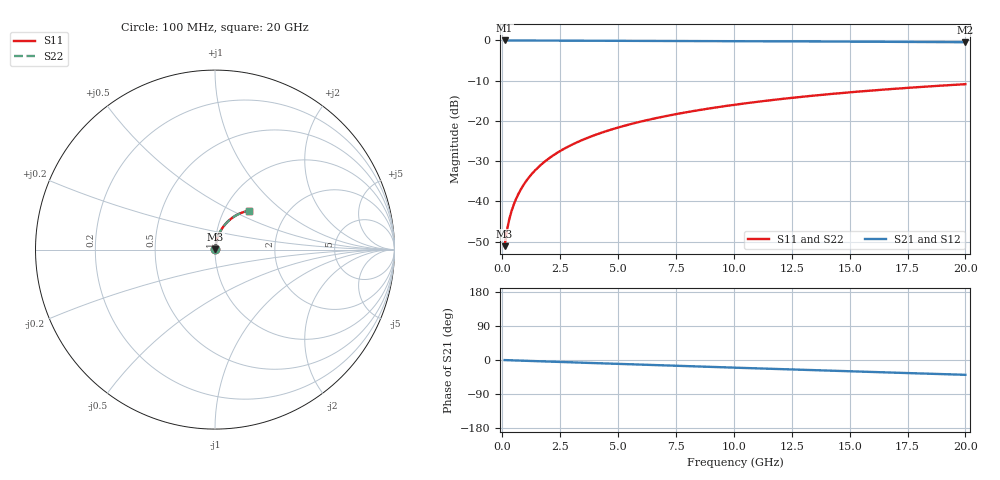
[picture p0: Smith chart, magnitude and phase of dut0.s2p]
! Touchstone file exported from HFSS 2026.1.0
!  File:  C:/ffzhzh/LocalFiles/Ansys_Project_Files/temp_train_TMRDL_0_1782879194_39248.aedt
!  Generated:  12:14:39 PM Jul  1, 2026
!  Design:  TMRDL
!  Project:  temp_train_TMRDL_0_1782879194_39248
! Variables:
!  h_bsmrdl = 2um
!  h_ox = 20um
!  h_rdl = 5um
!  h_sub = 80um
!  h_tmrdl = 4.23um
!  h_tsv = 80um
!  h_via = 3um
!  l_bsmrdl = 300um
!  l_sub = 1003.36um
!  l_tmrdl = 603.36um
!  m_sub = 200um
!  pitch = 50.44um
!  r_tsv = 6um
!  s_tmrdl = 10um
!  w_bsmrdl = 18um
!  w_sub = 500um
!  w_tmrdl = 29.33um
!  x_tsv_center1 = 618.025um
!  x_tsv_center2 = 936.025um
!  x_tsv_center3 = 1568.715um
!  x_tsv_center4 = 1886.715um
!  x_tsv_center5 = 2519.405um
!  x_tsv_center6 = 2837.405um
# GHz S MA R 50.000000
! Terminal data exported
! Port[1] = TM_RDL1_1_T1
! Port[2] = TM_RDL1_1_T2
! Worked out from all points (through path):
!   200 points, 100 MHz to 20 GHz, reference 50 ohm
!   highest |S21| = -0.02 dB at 100 MHz (marker M1); lowest = -0.5 dB at 20 GHz (marker M2)
!   group delay of S21, straight-line fit = 5.42 ps
!   lowest |S11| = -51.1 dB at 100 MHz (marker M3), VSWR 1.01, Z = 50.2 + j0.195 ohm
!   |S11| at or under -10 dB: start of sweep to end of sweep
!   |S22| runs from -51.1 to -10.9 dB; largest |S21 - S12| = 2.2e-15
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0.1  0.002779 44.4  0.998 -0.2  0.998 -0.2  0.002779 44.4
! Gamma 0 0 0 0
! Port Impedance 50 0 50 0
0.2  0.004355 59.8  0.9978 -0.4  0.9978 -0.4  0.004356 59.8
0.3  0.005979 66.4  0.9977 -0.6  0.9977 -0.6  0.00598 66.4
0.4  0.00759 70.3  0.9976 -0.8  0.9976 -0.8  0.007593 70.3
0.5  0.009202 72.9  0.9975 -1.1  0.9975 -1.1  0.009204 72.9
0.6  0.01082 74.8  0.9974 -1.3  0.9974 -1.3  0.01082 74.8
0.8  0.01409 77.2  0.9973 -1.7  0.9973 -1.7  0.01409 77.2
1.1  0.01904 79.2  0.9971 -2.3  0.9971 -2.3  0.01904 79.2
1.3  0.02235 79.9  0.9969 -2.7  0.9969 -2.7  0.02236 79.9
1.6  0.02734 80.4  0.9967 -3.3  0.9967 -3.3  0.02734 80.4
2.1  0.03565 80.5  0.9962 -4.3  0.9962 -4.3  0.03565 80.5
2.7  0.04556 80.0  0.9955 -5.6  0.9955 -5.6  0.04556 80.0
3.5  0.05865 78.9  0.9943 -7.2  0.9943 -7.2  0.05865 78.9
4.2  0.06995 77.8  0.9932 -8.6  0.9932 -8.6  0.06995 77.8
5  0.08269 76.4  0.9917 -10.2  0.9917 -10.2  0.08269 76.4
5.9  0.09679 74.8  0.9899 -12.0  0.9899 -12.0  0.09679 74.8
6.8  0.1107 73.1  0.988 -13.8  0.988 -13.8  0.1107 73.1
8.3  0.1333 70.4  0.9845 -16.8  0.9845 -16.8  0.1333 70.3
10.1  0.1596 67.1  0.9799 -20.3  0.9799 -20.3  0.1596 67.0
13.4  0.2054 61.0  0.9704 -26.7  0.9704 -26.7  0.2054 61.0
16.7  0.2476 55.0  0.9598 -33.0  0.9598 -33.0  0.2476 54.9
20  0.2858 49.1  0.9487 -39.1  0.9487 -39.1  0.2858 49.0
